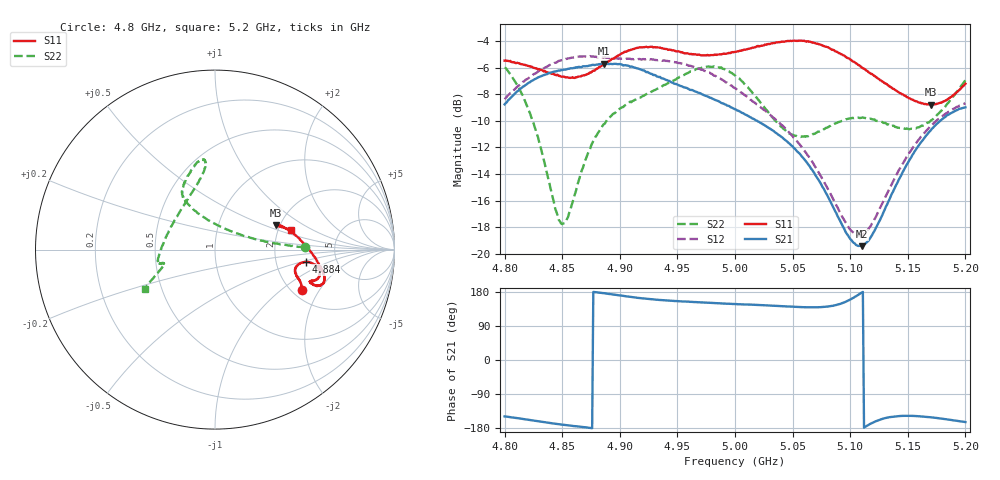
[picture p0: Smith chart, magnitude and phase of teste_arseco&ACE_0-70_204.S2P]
! Network Analyzer HP8722D
! Hewlett-Packard
! Data name: Linha & Wilkinson
! Saver's name: Rodrigo Anjos
! Comments: Teste da utilização de aquisição
! continua pelo VNA HP8722D
! Time and date: 8/5/2025 14:27
!  Frequency  S11  S21  S12  S22
# HZ  S  MA R 50
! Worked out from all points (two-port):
!   401 points, 4.8 GHz to 5.2 GHz, reference 50 ohm
!   highest |S21| = -5.69 dB at 4.886 GHz (marker M1); lowest = -19.4 dB at 5.11 GHz (marker M2)
!   |S21| within 3 dB of the highest: 4.801 GHz to 4.99 GHz (189.1 MHz wide, 3.86 % of centre)
!   lowest |S11| = -8.8 dB at 5.17 GHz (marker M3), VSWR 2.15, Z = 94.6 + j30.1 ohm
!   |S11| at or under -10 dB: nowhere
!   |S22| runs from -17.8 to -5.9 dB; largest |S21 - S12| = 1.1
!   S11 on the Smith chart (normalised r, x): 4.8 GHz: 2.24, -1.42; 4.884 GHz: 2.96, -0.54; 5.2 GHz: 2.34, +0.64
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4.8e9  0.5333 -25.2  0.3649 -149.0  0.3816 10.5  0.5017 1.4
4.813e9  0.5201 -22.1  0.415 -154.3  0.4313 8.6  0.416 3.3
4.823e9  0.5057 -20.4  0.446 -158.9  0.4645 7.3  0.3282 6.2
4.845e9  0.4699 -16.7  0.4863 -168.6  0.5247 3.7  0.1438 42.0
4.849e9  0.464 -15.9  0.4909 -170.2  0.5348 2.9  0.13 59.2
4.855e9  0.4604 -14.4  0.4965 -172.4  0.5434 1.9  0.1374 85.2
4.867e9  0.4676 -11.0  0.5045 -176.6  0.552 0.3  0.206 111.9
4.884e9  0.509 -7.7  0.5186 177.0  0.5487 -1.0  0.2976 120.7
4.886e9  0.5156 -7.5  0.5193 176.5  0.5479 -1.0  0.3074 120.8
4.912e9  0.5893 -10.7  0.5039 165.6  0.5392 -0.4  0.3767 118.9
4.934e9  0.5965 -15.6  0.4623 158.5  0.5363 -1.4  0.4199 112.7
4.974e9  0.5584 -18.5  0.3937 151.5  0.4872 -5.2  0.5032 99.4
5e9  0.5753 -19.4  0.3497 147.6  0.4205 -5.4  0.4693 96.7
5.045e9  0.6312 -17.5  0.2651 141.3  0.2917 3.0  0.2878 132.7
5.067e9  0.6239 -13.4  0.2068 139.0  0.2222 9.4  0.2805 164.5
5.098e9  0.5453 -2.9  0.1174 156.5  0.1272 37.4  0.322 -170.4
5.11e9  0.5022 2.9  0.1068 178.0  0.1175 61.3  0.3249 -167.1
5.119e9  0.4745 7.3  0.1176 -166.1  0.1302 78.2  0.3212 -166.0
5.134e9  0.4268 14.7  0.1598 -150.9  0.1754 94.7  0.3046 -165.7
5.153e9  0.381 20.9  0.2307 -147.4  0.2456 101.4  0.2955 -164.2
5.17e9  0.3645 22.2  0.2916 -151.2  0.3026 102.4  0.317 -160.7
5.2e9  0.4362 14.8  0.3557 -163.7  0.3685 102.8  0.4496 -150.7
